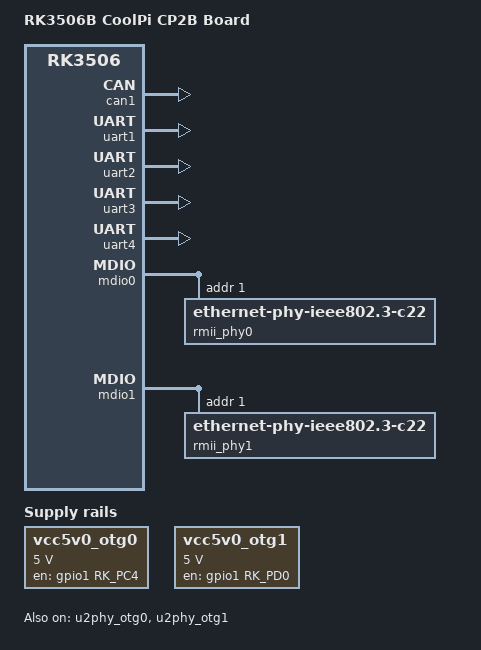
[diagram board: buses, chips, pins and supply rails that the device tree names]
// SPDX-License-Identifier: (GPL-2.0+ OR MIT)
/*
 * Copyright (c) 2024 Rockchip Electronics Co., Ltd.
 */

/dts-v1/;

#include "rk3506.dtsi"
#include <dt-bindings/display/drm_mipi_dsi.h>
#include <dt-bindings/input/rk-input.h>
#include <dt-bindings/suspend/rockchip-rk3506.h>


/ {
	model = "RK3506B CoolPi CP2B  Board";
	compatible = "rockchip,rk3506b-cp2b", "rockchip,rk3506";
	
	chosen {
		bootargs = "earlycon=uart8250,mmio32,0xff0a0000 console=ttyFIQ0";
	};

	vcc5v0_otg0: vcc5v0-otg0-regulator {
		compatible = "regulator-fixed";
		regulator-name = "vcc5v0_otg0";
		regulator-min-microvolt = <5000000>;
		regulator-max-microvolt = <5000000>;
		enable-active-high;
		gpio = <&gpio1 RK_PC4 GPIO_ACTIVE_HIGH>;
		pinctrl-names = "default";
		pinctrl-0 = <&vcc5v0_otg0_en>;
	};

	vcc5v0_otg1: vcc5v0-otg1-regulator {
		compatible = "regulator-fixed";
		regulator-name = "vcc5v0_otg1";
		regulator-boot-on;
		regulator-always-on;
		regulator-min-microvolt = <5000000>;
		regulator-max-microvolt = <5000000>;
		enable-active-high;
		gpio = <&gpio1 RK_PD0 GPIO_ACTIVE_HIGH>;
		pinctrl-names = "default";
		pinctrl-0 = <&vcc5v0_otg1_en>;
	};
	
	fiq_debugger: fiq-debugger {
		compatible = "rockchip,fiq-debugger";
		rockchip,serial-id = <0>;
		rockchip,wake-irq = <0>;
		rockchip,irq-mode-enable = <1>;
		rockchip,baudrate = <115200>;	/* Only 115200 and 1500000 */
		interrupts = <GIC_SPI 115 IRQ_TYPE_LEVEL_HIGH>;
	};
};

&can1 {
	assigned-clocks = <&cru CLK_CAN0>;
	assigned-clock-rates = <300000000>;
	pinctrl-0 = <&rm_io25_can1_tx &rm_io26_can1_rx>;
	pinctrl-names = "default";
	status = "okay";
};

&uart1 {
	pinctrl-0 = <&rm_io17_uart1_tx &rm_io16_uart1_rx>;
	status = "okay";
};

&uart2 {
	pinctrl-0 = <&rm_io2_uart2_tx &rm_io0_uart2_rx>;
	status = "okay";
};

&uart3 {
	pinctrl-0 = <&rm_io14_uart3_tx &rm_io15_uart3_rx>;
	status = "okay";
};

&uart4 {
	pinctrl-0 = <&rm_io31_uart4_tx &rm_io30_uart4_rx>;
	status = "okay";
};

&gmac0 {
	phy-mode = "rmii";
	clock_in_out = "output";

	snps,reset-gpio = <&gpio0 RK_PC2 GPIO_ACTIVE_LOW>;
	snps,reset-active-low;
	snps,reset-delays-us = <0 20000 100000>;

	pinctrl-names = "default";
	pinctrl-0 = <&eth_rmii0_miim_pins
		     &eth_rmii0_tx_bus2_pins
		     &eth_rmii0_rx_bus2_pins
		     &eth_rmii0_clk_pins>;

	phy-handle = <&rmii_phy0>;
	status = "disabled";
};

&gmac1 {
	phy-mode = "rmii";
	clock_in_out = "output";

	snps,reset-gpio = <&gpio4 RK_PA3 GPIO_ACTIVE_LOW>;
	snps,reset-active-low;
	snps,reset-delays-us = <0 20000 100000>;

	pinctrl-names = "default";
	pinctrl-0 = <&eth_rmii1_miim_pins
		     &eth_rmii1_tx_bus2_pins
		     &eth_rmii1_rx_bus2_pins
		     &eth_rmii1_clk_pins>;

	phy-handle = <&rmii_phy1>;
	status = "disabled";
};

&mdio0 {
	rmii_phy0: phy@1 {
		compatible = "ethernet-phy-ieee802.3-c22";
		reg = <0x1>;
	};
};

&mdio1 {
	rmii_phy1: phy@1 {
		compatible = "ethernet-phy-ieee802.3-c22";
		reg = <0x1>;
	};
};

&u2phy_otg0 {
	vbus-supply = <&vcc5v0_otg0>;
	status = "okay";
};

&u2phy_otg1 {
	phy-supply = <&vcc5v0_otg1>;
	status = "okay";
};

&pinctrl {
	usb {
		vcc5v0_otg0_en: vcc5v0-otg0-en {
			rockchip,pins = <4 RK_PA0 RK_FUNC_GPIO &pcfg_pull_none>;
		};

		vcc5v0_otg1_en: vcc5v0-otg1-en {
			rockchip,pins = <4 RK_PA1 RK_FUNC_GPIO &pcfg_pull_none>;
		};
	};
};
